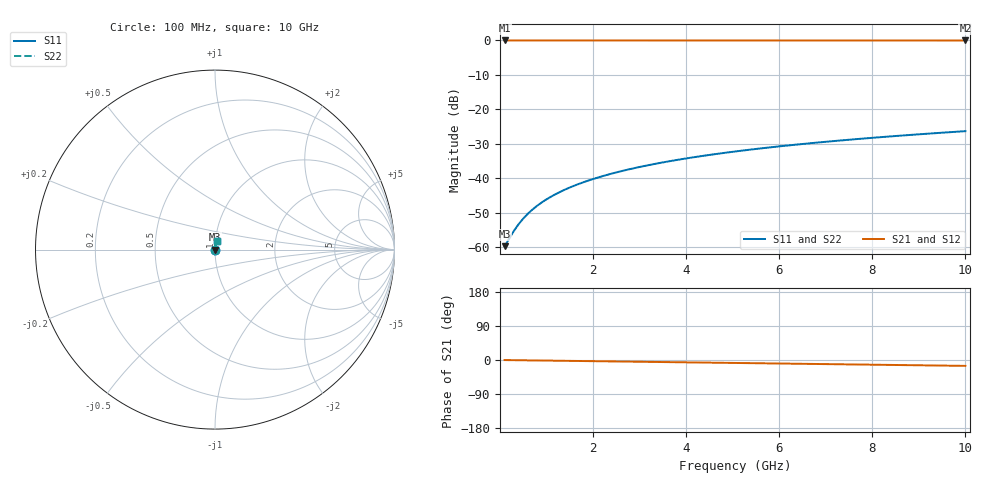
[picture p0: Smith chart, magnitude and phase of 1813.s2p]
# Hz S RI R 50.00
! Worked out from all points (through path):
!   100 points, 100 MHz to 10 GHz, reference 50 ohm
!   highest |S21| = -0.01 dB at 100 MHz (marker M1); lowest = 0.0 dB at 10 GHz (marker M2)
!   group delay of S21, straight-line fit = 4.31 ps
!   lowest |S11| = -59.7 dB at 100 MHz (marker M3), VSWR 1.00, Z = 50.1 + j0.0484 ohm
!   |S11| at or under -10 dB: start of sweep to end of sweep
!   |S22| runs from -59.7 to -26.3 dB; largest |S21 - S12| = 0
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1e8  0.000914 0.000483  0.9991 -0.00269  0.9991 -0.00269  0.000914 0.000483
3e8  0.000933 0.00145  0.999 -0.00806  0.999 -0.00806  0.000933 0.00145
4e8  0.000944 0.00193  0.999 -0.0107  0.999 -0.0107  0.000944 0.00193
5e8  0.000958 0.00241  0.999 -0.0134  0.999 -0.0134  0.000958 0.00241
6e8  0.000974 0.0029  0.9989 -0.0161  0.9989 -0.0161  0.000974 0.0029
7e8  0.000993 0.00338  0.9989 -0.0188  0.9989 -0.0188  0.000993 0.00338
8e8  0.00101 0.00386  0.9988 -0.0215  0.9988 -0.0215  0.00101 0.00386
9e8  0.00104 0.00434  0.9987 -0.0242  0.9987 -0.0242  0.00104 0.00434
1e9  0.00106 0.00483  0.9987 -0.0269  0.9987 -0.0269  0.00106 0.00483
1.2e9  0.00112 0.00579  0.9985 -0.0322  0.9985 -0.0322  0.00112 0.00579
1.5e9  0.00123 0.00723  0.9982 -0.0403  0.9982 -0.0403  0.00123 0.00723
1.8e9  0.00136 0.00867  0.9978 -0.0483  0.9978 -0.0483  0.00136 0.00867
2.1e9  0.00151 0.0101  0.9974 -0.0564  0.9974 -0.0564  0.00151 0.0101
2.5e9  0.00175 0.012  0.9967 -0.0671  0.9967 -0.0671  0.00175 0.012
2.9e9  0.00203 0.0139  0.9959 -0.0779  0.9959 -0.0779  0.00203 0.0139
3.4e9  0.00244 0.0163  0.9947 -0.0913  0.9947 -0.0913  0.00244 0.0163
4.2e9  0.00323 0.0201  0.9924 -0.1127  0.9924 -0.1127  0.00323 0.0201
5.1e9  0.00431 0.0243  0.9892 -0.1368  0.9892 -0.1368  0.00431 0.0243
5.9e9  0.00544 0.028  0.9859 -0.1582  0.9859 -0.1582  0.00544 0.028
6.7e9  0.00674 0.0317  0.9821 -0.1795  0.9821 -0.1795  0.00674 0.0317
8.4e9  0.01 0.0393  0.9725 -0.2246  0.9725 -0.2246  0.01 0.0393
1e10  0.0138 0.0462  0.9614 -0.2667  0.9614 -0.2667  0.0138 0.0462
